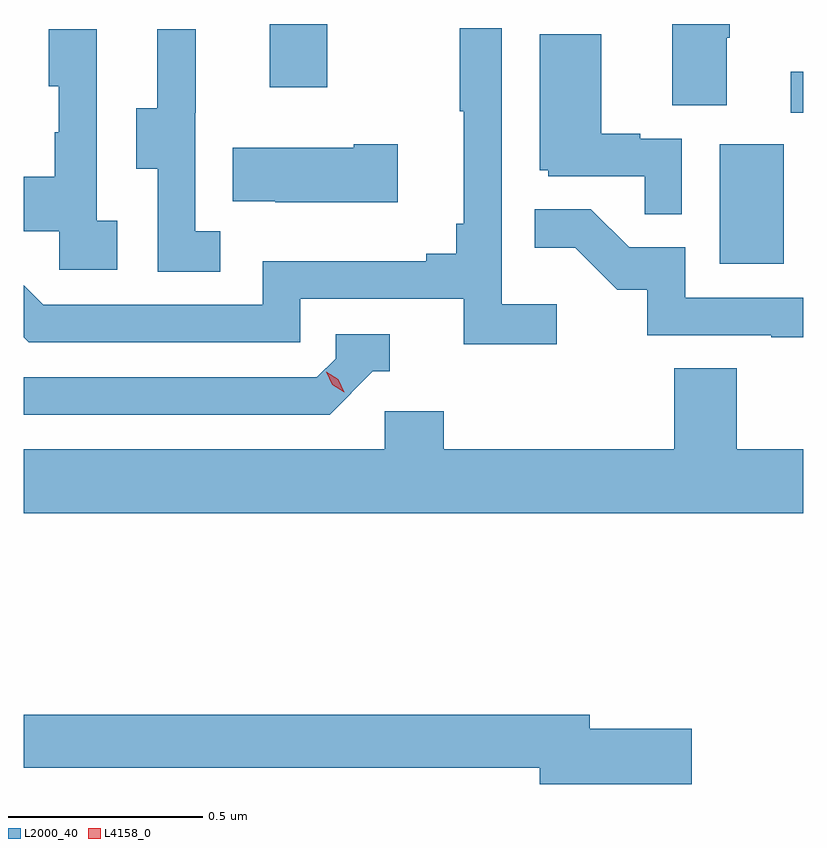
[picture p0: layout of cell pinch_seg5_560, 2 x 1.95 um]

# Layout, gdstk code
import gdstk
lib = gdstk.Library(unit=1e-6, precision=1e-09)
def R(c, l, rs):  # rectangles x0, y0, x1, y1
    for r in rs: c.add(gdstk.rectangle(r[:2], r[2:], *l))
def P(c, l, *ps):  # polygons
    for p in ps: c.add(gdstk.Polygon(p, *l))
L2000_40 = (2000, 40)
L4158_0 = (4158, 0)

pinch_seg5_560 = lib.new_cell('pinch_seg5_560')
R(pinch_seg5_560, L2000_40, [(987.872,834.756,988.036,835.063), (988.053,835.143,988.086,835.249), (986.717,835.209,986.865,835.371)])
P(pinch_seg5_560, L2000_40, [(987.889,835.336),(987.897,835.336),(987.897,835.371),(987.749,835.371),(987.749,835.162),(987.889,835.162)],
  [(987.454,834.652),(987.312,834.652),(987.312,835.36),(987.204,835.36),(987.204,835.147),(987.215,835.147),(987.215,834.859),(987.196,834.859),(987.196,834.782),(987.119,834.782),(987.119,834.763),(986.7,834.763),(986.7,834.651),(986.136,834.651),(986.086,834.701),(986.086,834.568),(986.099,834.555),(986.796,834.555),(986.796,834.666),(987.215,834.666),(987.215,834.55),(987.454,834.55)],
  [(986.326,834.866),(986.274,834.866),(986.274,835.357),(986.15,835.357),(986.15,835.212),(986.176,835.212),(986.176,835.094),(986.166,835.094),(986.166,834.979),(986.086,834.979),(986.086,834.839),(986.178,834.839),(986.178,834.741),(986.326,834.741)],
  [(986.59,834.839),(986.526,834.839),(986.526,835.143),(986.528,835.143),(986.528,835.357),(986.429,835.357),(986.429,835.155),(986.375,835.155),(986.375,835),(986.43,835),(986.43,834.736),(986.59,834.736)],
  [(987.774,835.077),(987.668,835.077),(987.668,835.09),(987.568,835.09),(987.568,835.345),(987.41,835.345),(987.41,834.996),(987.432,834.996),(987.432,834.981),(987.679,834.981),(987.679,834.883),(987.774,834.883)],
  [(987.046,835.062),(986.933,835.062),(986.933,835.054),(986.623,835.054),(986.623,834.917),(986.731,834.917),(986.731,834.914),(987.046,834.914)],
  [(988.086,834.669),(987.783,834.669),(987.783,834.798),(987.639,834.798),(987.541,834.896),(987.397,834.896),(987.397,834.797),(987.501,834.797),(987.608,834.69),(987.685,834.69),(987.685,834.573),(988.003,834.573),(988.003,834.568),(988.086,834.568)],
  [(986.982,834.48),(987.025,834.48),(987.025,834.576),(986.886,834.576),(986.886,834.513),(986.838,834.465),(986.086,834.465),(986.086,834.369),(986.871,834.369)],
  [(988.086,834.28),(987.915,834.28),(987.915,834.488),(987.755,834.488),(987.755,834.28),(987.164,834.28),(987.164,834.378),(987.012,834.378),(987.012,834.28),(986.086,834.28),(986.086,834.116),(988.086,834.116)],
  [(987.799,833.564),(987.538,833.564),(987.538,833.6),(986.086,833.6),(986.086,833.464),(987.41,833.464),(987.41,833.422),(987.799,833.422)])
P(pinch_seg5_560, L4158_0, [(986.909,834.427),(986.878,834.446),(986.862,834.479),(986.862,834.479),(986.862,834.479),(986.893,834.46),(986.909,834.427),(986.909,834.427)])

lib.write_gds('pinch_seg5_560.gds')
